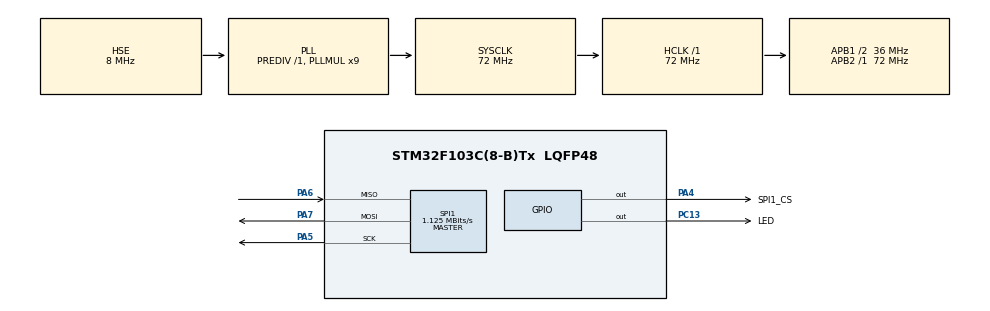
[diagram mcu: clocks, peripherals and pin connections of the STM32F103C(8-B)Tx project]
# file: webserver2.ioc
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Mcu.Family=STM32F1
Mcu.Name=STM32F103C(8-B)Tx
Mcu.Package=LQFP48
NVIC.PriorityGroup=NVIC_PRIORITYGROUP_4
PA13.Mode=Serial_Wire
PA13.Signal=SYS_JTMS-SWDIO
PA14.Mode=Serial_Wire
PA14.Signal=SYS_JTCK-SWCLK
PA4.GPIO_Label=SPI1_CS
PA4.Signal=GPIO_Output
PA5.Mode=Full_Duplex_Master
PA5.Signal=SPI1_SCK
PA6.Mode=Full_Duplex_Master
PA6.Signal=SPI1_MISO
PA7.Mode=Full_Duplex_Master
PA7.Signal=SPI1_MOSI
PC13-TAMPER-RTC.GPIO_Label=LED
PC13-TAMPER-RTC.Signal=GPIO_Output
PD0-OSC_IN.Mode=HSE-External-Oscillator
PD0-OSC_IN.Signal=RCC_OSC_IN
PD1-OSC_OUT.Mode=HSE-External-Oscillator
PD1-OSC_OUT.Signal=RCC_OSC_OUT
ProjectManager.HeapSize=0x200
ProjectManager.StackSize=0x400
ProjectManager.TargetToolchain=STM32CubeIDE
RCC.AHBFreq_Value=72000000
RCC.APB1CLKDivider=RCC_HCLK_DIV2
RCC.APB1Freq_Value=36000000
RCC.APB1TimFreq_Value=72000000
RCC.APB2Freq_Value=72000000
RCC.APB2TimFreq_Value=72000000
RCC.HCLKFreq_Value=72000000
RCC.PLLMUL=RCC_PLL_MUL9
RCC.PLLSourceVirtual=RCC_PLLSOURCE_HSE
RCC.SYSCLKFreq_VALUE=72000000
RCC.SYSCLKSource=RCC_SYSCLKSOURCE_PLLCLK
RCC.USBFreq_Value=72000000
SPI1.BaudRatePrescaler=SPI_BAUDRATEPRESCALER_64
SPI1.CalculateBaudRate=1.125 MBits/s
SPI1.Direction=SPI_DIRECTION_2LINES
SPI1.Mode=SPI_MODE_MASTER
SPI1.VirtualType=VM_MASTER
board=custom

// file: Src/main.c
/* USER CODE BEGIN Header */
/**
  ******************************************************************************
  * @file           : main.c
  * @brief          : Main program body
  ******************************************************************************
  * @attention
  *
  * <h2><center>&copy; Copyright (c) 2020 STMicroelectronics.
  * All rights reserved.</center></h2>
  *
  * This software component is licensed by ST under BSD 3-Clause license,
  * the "License"; You may not use this file except in compliance with the
  * License. You may obtain a copy of the License at:
  *                        opensource.org/licenses/BSD-3-Clause
  *
  ******************************************************************************
  */
/* USER CODE END Header */

#include "main.h"

/* USER CODE BEGIN Includes */
#include "memory.h"
/* USER CODE END Includes */

/* USER CODE BEGIN PTD */
/*
 * Programa para trabalhar com o ENC28J60 utilizando o STM32F103C8 com a placa BluePill
 * Data: 18/02/2020
 * Adaptação: Eng. Fabrício de Lima Ribeiro
 */
/* USER CODE END PTD */

/* USER CODE BEGIN PD */
#define MYWWWPORT 80
#define BUFFER_SIZE 550
/* USER CODE END PD */

SPI_HandleTypeDef hspi1;

/* USER CODE BEGIN PV */

static uint8_t mymac[6] = { 0x54, 0x55, 0x58, 0x10, 0x00, 0x25 };
//static uint8_t myip[4] = {192,168,0,15};
static uint8_t buf[BUFFER_SIZE + 1];
uint16_t plen, dat_p;

/* For DHCP */
static uint8_t myip[4] = { 0, 0, 0, 0 };
static uint8_t mynetmask[4] = { 0, 0, 0, 0 };

// IP address of the host being queried to contact (IP of the first portion of the URL):
static uint8_t websrvip[4] = { 0, 0, 0, 0 };

// Default gateway. The ip address of your DSL router. It can be set to the same as
// websrvip the case where there is no default GW to access the
// web server (=web server is on the same lan as this host)
static uint8_t gwip[4] = { 192, 168, 0, 1 };
static uint8_t dnsip[4] = { 0, 0, 0, 0 };
static uint8_t dhcpsvrip[4] = { 0, 0, 0, 0 };

//Reservando área da flah interna
MemoryMap map;
static const uint32_t memoryMapSize = sizeof(map) / sizeof(uint32_t);

/* USER CODE END PV */

void SystemClock_Config(void);
static void MX_GPIO_Init(void);
static void MX_SPI1_Init(void);
/* USER CODE BEGIN PFP */

/* Private function prototypes */
uint16_t http200ok(void);
uint16_t print_webpage(uint8_t *buf);
uint16_t print_webpage2(uint8_t *buf);

/* USER CODE END PFP */

int main(void)
{

  /* MCU Configuration--------------------------------------------------------*/

  /* Reset of all peripherals, Initializes the Flash interface and the Systick. */
  HAL_Init();

  /* Configure the system clock */
  SystemClock_Config();

  /* Initialize all configured peripherals */
  MX_GPIO_Init();
  MX_SPI1_Init();
  /* USER CODE BEGIN 2 */

  // Initialise SPI interface
  ES_enc28j60SpiInit(&hspi1);

  // initialize enc28j60
  ES_enc28j60Init(mymac);

  // init the ethernet/ip layer:
  //ES_init_ip_arp_udp_tcp(mymac,myip, MYWWWPORT);

  if(ES_enc28j60Revision() <= 0)
  {
	// Failed to access ENC28J60
	while (1)
		;    // Just loop here
  }

  // Get IP Address details
  if (allocateIPAddress(buf, BUFFER_SIZE, mymac, 80, myip, mynetmask, gwip, dhcpsvrip, dnsip) > 0)
  {
		// Display the results:
  }
  else
  {
	// Failed to get IP address"
	while (1)
		;
  }

  /* USER CODE END 2 */

  /* Infinite loop */
  while (1)
  {

    /* USER CODE BEGIN 3 */
		// read packet, handle ping and wait for a tcp packet:
		dat_p = ES_packetloop_icmp_tcp(buf, ES_enc28j60PacketReceive(BUFFER_SIZE, buf));

		/* dat_p will be unequal to zero if there is a valid
		 * http get */
		if (dat_p == 0)
		{
			// no http request
			continue;
		}

		// tcp port 80 begin
		if (strncmp("GET ", (char *) &(buf[dat_p]), 4) != 0)
		{
			// head, post and other methods:
			dat_p = http200ok();
			dat_p = ES_fill_tcp_data(buf, dat_p, "<h1>200 OK</h1>");
			goto SENDTCP;
		}

		// Página principal
		if (strncmp("/ ", (char *) &(buf[dat_p + 4]), 2) == 0)
		{
			dat_p = print_webpage(buf);
			goto SENDTCP;
		}
		else if (strncmp("/test ", (char *) &(buf[dat_p + 4]), 2) == 0)
		{
			dat_p = print_webpage2(buf);
			goto SENDTCP;
		}
		else if (strncmp("/?", (char *) &(buf[dat_p + 4]), 2) == 0)
		{
			//Salva valores na flash
			char mat[3]={0, 0, 0};
			int cont=0, i=4, offset=0, n1=0, n2=1;

			while(n1 != n2)
			{
				if(buf[dat_p + i] == '=')
				{
					i++;

					if(cont < 2)
					{
						while(buf[dat_p + i] != '&')
						{
							mat[offset] = buf[dat_p + i];
							offset++;
							i++;
						}
					}
					else
					{
						while(buf[dat_p + i] != ' ')
						{
							mat[offset] = buf[dat_p + i];
							offset++;
							i++;
						}
					}

					offset = 0;

					if(cont == 0)
					{
						map.data0=atol(mat);
						memset(mat, 0, sizeof(mat));
						cont++;
					}
					else if(cont == 1)
					{
						map.data1=atol(mat);
						memset(mat, 0, sizeof(mat));
						cont++;
					}
					else if(cont == 2)
					{
						map.data2=atol(mat);
						cont++;
						n1++;
					}
				}
				i++;
			}

			/*Store map to flash*/
			MemMap_WriteAllEntriesToFlash(&map, memoryMapSize);

			dat_p = print_webpage2(buf);
			goto SENDTCP;
		}
		else
		{
			dat_p = ES_fill_tcp_data(buf, 0, "HTTP/1.0 401 Unauthorized\r\nContent-Type: text/html\r\n\r\n<h1>401 Unauthorized</h1>");
			goto SENDTCP;
		}
		SENDTCP: ES_www_server_reply(buf, dat_p); // send web page data
		// tcp port 80 end
  }
  /* USER CODE END 3 */
}

void SystemClock_Config(void)
{
  RCC_OscInitTypeDef RCC_OscInitStruct = {0};
  RCC_ClkInitTypeDef RCC_ClkInitStruct = {0};

  /** Initializes the CPU, AHB and APB busses clocks
  */
  RCC_OscInitStruct.OscillatorType = RCC_OSCILLATORTYPE_HSE;
  RCC_OscInitStruct.HSEState = RCC_HSE_ON;
  RCC_OscInitStruct.HSEPredivValue = RCC_HSE_PREDIV_DIV1;
  RCC_OscInitStruct.HSIState = RCC_HSI_ON;
  RCC_OscInitStruct.PLL.PLLState = RCC_PLL_ON;
  RCC_OscInitStruct.PLL.PLLSource = RCC_PLLSOURCE_HSE;
  RCC_OscInitStruct.PLL.PLLMUL = RCC_PLL_MUL9;
  if (HAL_RCC_OscConfig(&RCC_OscInitStruct) != HAL_OK)
  {
    Error_Handler();
  }
  /** Initializes the CPU, AHB and APB busses clocks
  */
  RCC_ClkInitStruct.ClockType = RCC_CLOCKTYPE_HCLK|RCC_CLOCKTYPE_SYSCLK
                              |RCC_CLOCKTYPE_PCLK1|RCC_CLOCKTYPE_PCLK2;
  RCC_ClkInitStruct.SYSCLKSource = RCC_SYSCLKSOURCE_PLLCLK;
  RCC_ClkInitStruct.AHBCLKDivider = RCC_SYSCLK_DIV1;
  RCC_ClkInitStruct.APB1CLKDivider = RCC_HCLK_DIV2;
  RCC_ClkInitStruct.APB2CLKDivider = RCC_HCLK_DIV1;

  if (HAL_RCC_ClockConfig(&RCC_ClkInitStruct, FLASH_LATENCY_2) != HAL_OK)
  {
    Error_Handler();
  }
}

static void MX_SPI1_Init(void)
{

  /* SPI1 parameter configuration*/
  hspi1.Instance = SPI1;
  hspi1.Init.Mode = SPI_MODE_MASTER;
  hspi1.Init.Direction = SPI_DIRECTION_2LINES;
  hspi1.Init.DataSize = SPI_DATASIZE_8BIT;
  hspi1.Init.CLKPolarity = SPI_POLARITY_LOW;
  hspi1.Init.CLKPhase = SPI_PHASE_1EDGE;
  hspi1.Init.NSS = SPI_NSS_SOFT;
  hspi1.Init.BaudRatePrescaler = SPI_BAUDRATEPRESCALER_64;
  hspi1.Init.FirstBit = SPI_FIRSTBIT_MSB;
  hspi1.Init.TIMode = SPI_TIMODE_DISABLE;
  hspi1.Init.CRCCalculation = SPI_CRCCALCULATION_DISABLE;
  hspi1.Init.CRCPolynomial = 10;
  if (HAL_SPI_Init(&hspi1) != HAL_OK)
  {
    Error_Handler();
  }

}

static void MX_GPIO_Init(void)
{
  GPIO_InitTypeDef GPIO_InitStruct = {0};

  /* GPIO Ports Clock Enable */
  __HAL_RCC_GPIOC_CLK_ENABLE();
  __HAL_RCC_GPIOD_CLK_ENABLE();
  __HAL_RCC_GPIOA_CLK_ENABLE();

  /*Configure GPIO pin Output Level */
  HAL_GPIO_WritePin(LED_GPIO_Port, LED_Pin, GPIO_PIN_RESET);

  /*Configure GPIO pin Output Level */
  HAL_GPIO_WritePin(SPI1_CS_GPIO_Port, SPI1_CS_Pin, GPIO_PIN_RESET);

  /*Configure GPIO pin : LED_Pin */
  GPIO_InitStruct.Pin = LED_Pin;
  GPIO_InitStruct.Mode = GPIO_MODE_OUTPUT_PP;
  GPIO_InitStruct.Pull = GPIO_NOPULL;
  GPIO_InitStruct.Speed = GPIO_SPEED_FREQ_LOW;
  HAL_GPIO_Init(LED_GPIO_Port, &GPIO_InitStruct);

  /*Configure GPIO pin : SPI1_CS_Pin */
  GPIO_InitStruct.Pin = SPI1_CS_Pin;
  GPIO_InitStruct.Mode = GPIO_MODE_OUTPUT_PP;
  GPIO_InitStruct.Pull = GPIO_NOPULL;
  GPIO_InitStruct.Speed = GPIO_SPEED_FREQ_LOW;
  HAL_GPIO_Init(SPI1_CS_GPIO_Port, &GPIO_InitStruct);

}

/* USER CODE BEGIN 4 */
uint16_t http200ok(void)
{
	return (ES_fill_tcp_data(buf, 0, "HTTP/1.0 200 OK\r\nContent-Type: text/html\r\nPragma: no-cache\r\n\r\n"));
}

// prepare the webpage by writing the data to the tcp send buffer
uint16_t print_webpage(uint8_t *buf)
{
	uint16_t plen;
	char writeValue[50];
	int var1, var2, var3;

	plen = http200ok();
	plen = ES_fill_tcp_data(buf, plen, "<!DOCTYPE html><head><title>STM32F1 ENC28J60 Ethernet Demo</title></head>");

	plen = ES_fill_tcp_data(buf, plen, "<body><h2>Dados na memoria:</h2>");

	MemMap_ReadAllEntriesFromFlash(&map, memoryMapSize);

	var1 = (int) map.data0;
	sprintf(writeValue,"<br>O valor da variavel 1 = %d",var1);
	plen = ES_fill_tcp_data(buf, plen, writeValue);

	var2 = (int) map.data1;
	sprintf(writeValue,"<br>O valor da variavel 2 = %d",var2);
	plen = ES_fill_tcp_data(buf, plen, writeValue);

	var3 = (int) map.data2;
	sprintf(writeValue,"<br>O valor da variavel 3 = %d",var3);
	plen = ES_fill_tcp_data(buf, plen, writeValue);

	plen = ES_fill_tcp_data(buf, plen, "<br> ");

	plen = ES_fill_tcp_data(buf, plen, "<br> <a href='/test'><button>Alterar dados</button></a>");
	plen = ES_fill_tcp_data(buf, plen, "</body></html>");

	return (plen);
}

// prepare the webpage by writing the data to the tcp send buffer
uint16_t print_webpage2(uint8_t *buf)
{
	uint16_t plen;

	plen = http200ok();
	plen = ES_fill_tcp_data(buf, plen, "<!DOCTYPE html><head><title>Test page</title></head><body>");
	plen = ES_fill_tcp_data(buf, plen, "<h1>Alterar dados: </h1>");

	plen = ES_fill_tcp_data(buf, plen, "<form method='GET' autocomplete='off' action='/ '>");
	plen = ES_fill_tcp_data(buf, plen, "<br>Variavel 1: <input type='text' name='var1'/><br/>");
	plen = ES_fill_tcp_data(buf, plen, "<br>Variavel 2: <input type='text' name='var2'/><br/>");
	plen = ES_fill_tcp_data(buf, plen, "<br>Variavel 3: <input type='text' name='var3'/><br/>");
	plen = ES_fill_tcp_data(buf, plen, "<br><input type='submit' value='Insere dados'/>");
	plen = ES_fill_tcp_data(buf, plen, "</form>");

	plen = ES_fill_tcp_data(buf, plen, "<br> <a href='/'><button>Voltar</button></a>");

	plen = ES_fill_tcp_data(buf, plen, "</body></html>");

	return (plen);
}

void ES_PingCallback(void)
{
	//STM_EVAL_LEDToggle(LED4);
}
/* USER CODE END 4 */

void Error_Handler(void)
{
}

/************************ (C) COPYRIGHT STMicroelectronics *****END OF FILE****/
